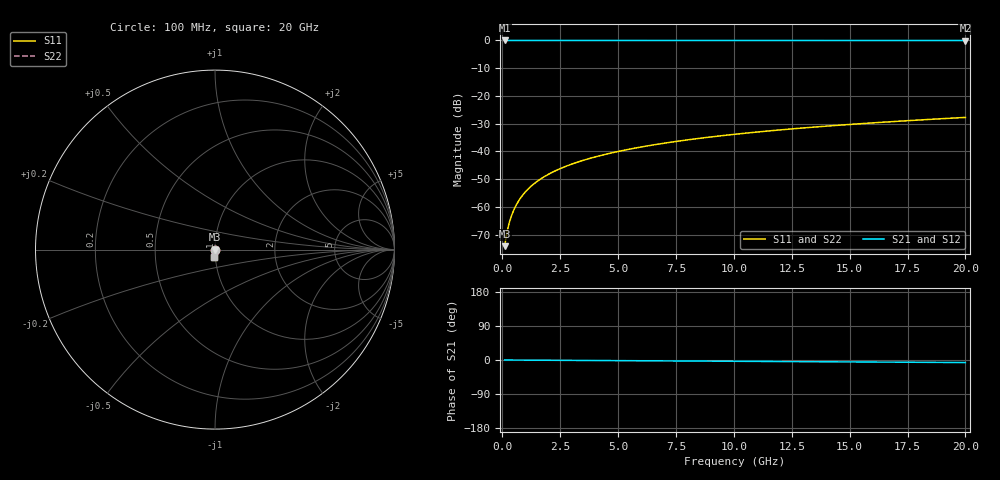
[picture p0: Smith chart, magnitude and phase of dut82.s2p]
! Touchstone file exported from HFSS 2026.1.0
!  File:  C:/ffzhzh/LocalFiles/Ansys_Project_Files/temp_train_TSV_82_1782959496_15332.aedt
!  Generated:  10:33:14 AM Jul  2, 2026
!  Design:  TSV
!  Project:  temp_train_TSV_82_1782959496_15332
! Variables:
!  h_bsmrdl = 2um
!  h_ox = 20um
!  h_rdl = 5um
!  h_sub = 65.2um
!  h_tmrdl = 5um
!  h_tsv = 65.2um
!  h_via = 3um
!  l_bsmrdl = 300um
!  l_sub = 420.88um
!  l_tmrdl = 200um
!  m_sub = 200um
!  pitch = 30.64um
!  r_tsv = 10.44um
!  s_tmrdl = 10um
!  w_bsmrdl = 18um
!  w_sub = 500um
!  w_tmrdl = 12um
!  x_tsv_center1 = 206um
!  x_tsv_center2 = 524um
!  x_tsv_center3 = 736um
!  x_tsv_center4 = 1054um
!  x_tsv_center5 = 1266um
!  x_tsv_center6 = 1584um
# GHz S MA R 50.000000
! Terminal data exported
! Port[1] = TSV1_1_T1
! Port[2] = TSV1_1_T2
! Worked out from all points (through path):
!   200 points, 100 MHz to 20 GHz, reference 50 ohm
!   highest |S21| = 0.00 dB at 100 MHz (marker M1); lowest = 0.0 dB at 20 GHz (marker M2)
!   lowest |S11| = -74.2 dB at 100 MHz (marker M3), VSWR 1.00, Z = 50 - j0.0162 ohm
!   |S11| at or under -10 dB: start of sweep to end of sweep
!   |S22| runs from -74.2 to -27.7 dB; largest |S21 - S12| = 3.1e-15
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0.1  0.000196 -55.6  0.9999 -0.0  0.9999 -0.0  0.000196 -55.6
! Gamma 0 0 0 0
! Port Impedance 50 0 50 0
0.2  0.00035 -69.2  0.9999 -0.1  0.9999 -0.1  0.00035 -69.2
0.3  0.0005192 -73.9  0.9999 -0.1  0.9999 -0.1  0.0005192 -73.9
0.4  0.0006978 -76.2  0.9998 -0.1  0.9998 -0.1  0.0006978 -76.2
0.5  0.0008836 -77.6  0.9998 -0.2  0.9998 -0.2  0.0008836 -77.6
0.7  0.00127 -79.4  0.9998 -0.2  0.9998 -0.2  0.00127 -79.4
0.8  0.001468 -80.2  0.9997 -0.3  0.9997 -0.3  0.001468 -80.2
1  0.001868 -81.4  0.9997 -0.3  0.9997 -0.3  0.001868 -81.4
1.2  0.002271 -82.4  0.9997 -0.4  0.9997 -0.4  0.002271 -82.4
1.4  0.002674 -83.2  0.9997 -0.5  0.9997 -0.5  0.002674 -83.2
1.7  0.00328 -84.2  0.9996 -0.6  0.9996 -0.6  0.00328 -84.2
2  0.003886 -84.9  0.9996 -0.7  0.9996 -0.7  0.003886 -84.9
2.7  0.005299 -86.2  0.9995 -0.9  0.9995 -0.9  0.005299 -86.2
3.5  0.00692 -87.1  0.9995 -1.2  0.9995 -1.2  0.00692 -87.1
4.2  0.008345 -87.7  0.9994 -1.4  0.9994 -1.4  0.008345 -87.7
5  0.00998 -88.3  0.9994 -1.7  0.9994 -1.7  0.00998 -88.3
6.8  0.01368 -89.4  0.9992 -2.3  0.9992 -2.3  0.01368 -89.4
8.3  0.01677 -90.1  0.9991 -2.8  0.9991 -2.8  0.01677 -90.1
10.1  0.0205 -91.0  0.9989 -3.4  0.9989 -3.4  0.0205 -91.0
13.4  0.02733 -92.4  0.9986 -4.5  0.9986 -4.5  0.02733 -92.4
16.7  0.03416 -93.8  0.9983 -5.6  0.9983 -5.6  0.03416 -93.8
20  0.041 -95.0  0.9979 -6.7  0.9979 -6.7  0.041 -95.0
